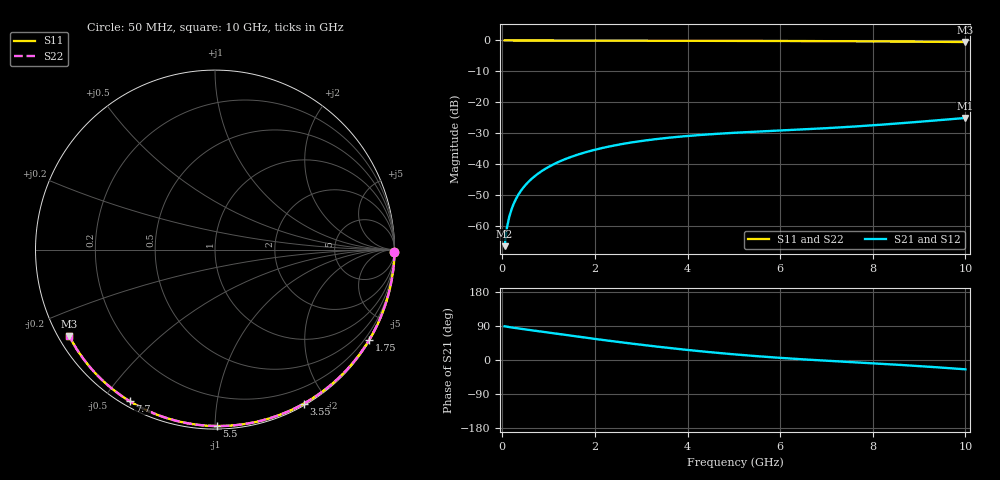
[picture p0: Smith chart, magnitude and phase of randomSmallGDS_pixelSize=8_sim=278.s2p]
! freq	dB(S11)	phase(S11)	dB(S12)	phase(S12)
!  dB(S21)	phase(S21)	dB(S22)	phase(S22)
!S-par simulation data
#  GHz  S  DB  R 50
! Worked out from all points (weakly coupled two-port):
!   200 points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, 50 MHz to 10 GHz, reference 50 ohm
!   highest |S21| = -25.11 dB at 10 GHz (marker M1); lowest = -66.6 dB at 50 MHz (marker M2)
!   lowest |S11| = -0.5 dB at 10 GHz (marker M3), VSWR 34.98, Z = 1.54 - j13.7 ohm
!   |S11| at or under -10 dB: nowhere
!   |S22| runs from -0.5 to 0.0 dB; largest |S21 - S12| = 0
!   S11 on the Smith chart (normalised r, x): 50 MHz: open; 1.75 GHz: 0.03, -3.68; 3.55 GHz: 0.02, -1.73; 5.5 GHz: 0.02, -1.01; 7.7 GHz: 0.02, -0.58; 10 GHz: 0.03, -0.27
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0.05  -0.00 -0.9  -66.64 88.9  -66.64 88.9  -0.00 -0.9
0.1  -0.00 -1.8  -60.64 87.8  -60.64 87.8  -0.00 -1.8
0.15  -0.00 -2.7  -57.15 86.8  -57.15 86.8  -0.00 -2.7
0.2  -0.00 -3.5  -54.68 85.8  -54.68 85.8  -0.00 -3.5
0.25  -0.00 -4.4  -52.76 84.9  -52.76 84.9  -0.00 -4.4
0.35  -0.00 -6.2  -49.89 83.2  -49.89 83.2  -0.00 -6.2
0.5  -0.01 -8.8  -46.84 80.7  -46.84 80.7  -0.01 -8.8
0.7  -0.01 -12.3  -43.97 77.3  -43.97 77.3  -0.01 -12.3
1  -0.02 -17.5  -40.97 72.2  -40.97 72.2  -0.02 -17.5
1.35  -0.03 -23.6  -38.49 66.3  -38.49 66.3  -0.03 -23.6
1.75  -0.04 -30.4  -36.43 59.7  -36.43 59.7  -0.04 -30.4
2.5  -0.06 -43.0  -33.79 47.7  -33.79 47.7  -0.06 -43.0
3.4  -0.08 -57.6  -31.83 34.5  -31.83 34.5  -0.08 -57.6
3.55  -0.08 -60.0  -31.58 32.5  -31.58 32.5  -0.08 -60.0
4.3  -0.10 -71.6  -30.59 22.9  -30.59 22.9  -0.10 -71.6
5.05  -0.13 -82.8  -29.88 14.5  -29.88 14.5  -0.13 -82.8
5.5  -0.15 -89.3  -29.53 10.1  -29.53 10.1  -0.15 -89.3
6.7  -0.21 -106.1  -28.65 0.2  -28.65 0.2  -0.21 -106.1
7.7  -0.27 -119.4  -27.79 -6.7  -27.79 -6.7  -0.27 -119.4
8.35  -0.33 -127.9  -27.11 -11.2  -27.11 -11.2  -0.33 -127.9
9.2  -0.41 -138.9  -26.11 -17.7  -26.11 -17.7  -0.41 -138.9
10  -0.50 -149.2  -25.11 -24.5  -25.11 -24.5  -0.50 -149.2
